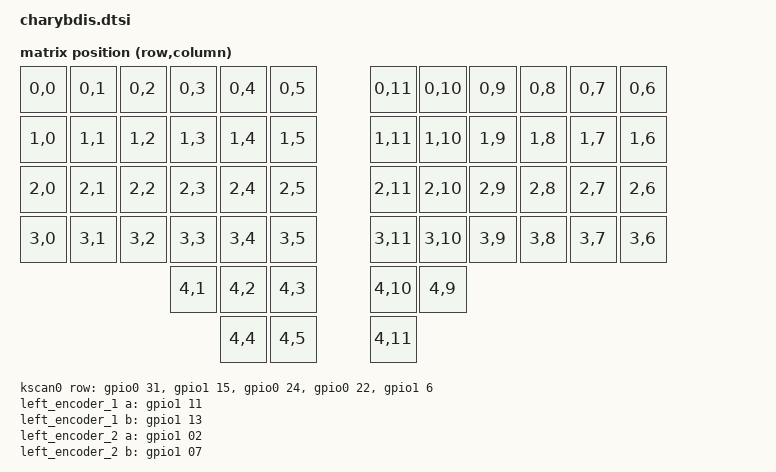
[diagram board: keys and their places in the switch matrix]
#include <dt-bindings/zmk/matrix_transform.h>
#include <dt-bindings/led/led.h>

#include <physical_layouts.dtsi>

/ {
    physical_layout_0: physical_layout_0 {
        compatible = "zmk,physical-layout";
        display-name = "default_transform";

        kscan = <&kscan0>;
        transform = <&matrix_transform0>;

        keys  //                     w   h    x    y     rot    rx    ry
            = <&key_physical_attrs 100 100    0    0       0     0     0>
            , <&key_physical_attrs 100 100  100    0       0     0     0>
            , <&key_physical_attrs 100 100  200    0       0     0     0>
            , <&key_physical_attrs 100 100  300    0       0     0     0>
            , <&key_physical_attrs 100 100  400    0       0     0     0>
            , <&key_physical_attrs 100 100  500    0       0     0     0>
            , <&key_physical_attrs 100 100  700    0       0     0     0>
            , <&key_physical_attrs 100 100  800    0       0     0     0>
            , <&key_physical_attrs 100 100  900    0       0     0     0>
            , <&key_physical_attrs 100 100 1000    0       0     0     0>
            , <&key_physical_attrs 100 100 1100    0       0     0     0>
            , <&key_physical_attrs 100 100 1200    0       0     0     0>
            , <&key_physical_attrs 100 100    0  100       0     0     0>
            , <&key_physical_attrs 100 100  100  100       0     0     0>
            , <&key_physical_attrs 100 100  200  100       0     0     0>
            , <&key_physical_attrs 100 100  300  100       0     0     0>
            , <&key_physical_attrs 100 100  400  100       0     0     0>
            , <&key_physical_attrs 100 100  500  100       0     0     0>
            , <&key_physical_attrs 100 100  700  100       0     0     0>
            , <&key_physical_attrs 100 100  800  100       0     0     0>
            , <&key_physical_attrs 100 100  900  100       0     0     0>
            , <&key_physical_attrs 100 100 1000  100       0     0     0>
            , <&key_physical_attrs 100 100 1100  100       0     0     0>
            , <&key_physical_attrs 100 100 1200  100       0     0     0>
            , <&key_physical_attrs 100 100    0  200       0     0     0>
            , <&key_physical_attrs 100 100  100  200       0     0     0>
            , <&key_physical_attrs 100 100  200  200       0     0     0>
            , <&key_physical_attrs 100 100  300  200       0     0     0>
            , <&key_physical_attrs 100 100  400  200       0     0     0>
            , <&key_physical_attrs 100 100  500  200       0     0     0>
            , <&key_physical_attrs 100 100  700  200       0     0     0>
            , <&key_physical_attrs 100 100  800  200       0     0     0>
            , <&key_physical_attrs 100 100  900  200       0     0     0>
            , <&key_physical_attrs 100 100 1000  200       0     0     0>
            , <&key_physical_attrs 100 100 1100  200       0     0     0>
            , <&key_physical_attrs 100 100 1200  200       0     0     0>
            , <&key_physical_attrs 100 100    0  300       0     0     0>
            , <&key_physical_attrs 100 100  100  300       0     0     0>
            , <&key_physical_attrs 100 100  200  300       0     0     0>
            , <&key_physical_attrs 100 100  300  300       0     0     0>
            , <&key_physical_attrs 100 100  400  300       0     0     0>
            , <&key_physical_attrs 100 100  500  300       0     0     0>
            , <&key_physical_attrs 100 100  700  300       0     0     0>
            , <&key_physical_attrs 100 100  800  300       0     0     0>
            , <&key_physical_attrs 100 100  900  300       0     0     0>
            , <&key_physical_attrs 100 100 1000  300       0     0     0>
            , <&key_physical_attrs 100 100 1100  300       0     0     0>
            , <&key_physical_attrs 100 100 1200  300       0     0     0>
            , <&key_physical_attrs 100 100  300  400       0     0     0>
            , <&key_physical_attrs 100 100  400  400       0     0     0>
            , <&key_physical_attrs 100 100  500  400       0     0     0>
            , <&key_physical_attrs 100 100  700  400       0     0     0>
            , <&key_physical_attrs 100 100  800  400       0     0     0>
            , <&key_physical_attrs 100 100  400  500       0     0     0>
            , <&key_physical_attrs 100 100  500  500       0     0     0>
            , <&key_physical_attrs 100 100  700  500       0     0     0>
            ;
    };
};


/ {
    chosen {
        zmk,kscan = &kscan0;
        zmk,physical-layouts = &physical_layout_0;
	zmk,underglow = &led_strip;
    };

    default_transform: keymap_transform_0 {
		compatible = "zmk,matrix-transform";
        columns = <12>;
        rows = <5>;

        map = <
			RC(0,0) RC(0,1) RC(0,2) RC(0,3) RC(0,4) RC(0,5)                   RC(0,11) RC(0,10) RC(0,9) RC(0,8) RC(0,7) RC(0,6)
			RC(1,0) RC(1,1) RC(1,2) RC(1,3) RC(1,4) RC(1,5)                   RC(1,11) RC(1,10) RC(1,9) RC(1,8) RC(1,7) RC(1,6)
			RC(2,0) RC(2,1) RC(2,2) RC(2,3) RC(2,4) RC(2,5)                   RC(2,11) RC(2,10) RC(2,9) RC(2,8) RC(2,7) RC(2,6)
			RC(3,0) RC(3,1) RC(3,2) RC(3,3) RC(3,4) RC(3,5)                   RC(3,11) RC(3,10) RC(3,9) RC(3,8) RC(3,7) RC(3,6)
					                RC(4,1) RC(4,2) RC(4,3)                   RC(4,10)  RC(4,9)
									        RC(4,4) RC(4,5)                   RC(4,11) 
        >;
    };
	
    kscan0: kscan {
        compatible = "zmk,kscan-gpio-matrix";
        label = "KSCAN";

        diode-direction = "row2col";
		row-gpios
            = <&gpio0 31 GPIO_ACTIVE_HIGH>
            , <&gpio1 15 GPIO_ACTIVE_HIGH>
            , <&gpio0 24 GPIO_ACTIVE_HIGH>
	        , <&gpio0 22 GPIO_ACTIVE_HIGH>
	        , <&gpio1 6 GPIO_ACTIVE_HIGH>
            ;
    };

 left_encoder_1: encoder_left_1 {
        compatible = "alps,ec11";
        a-gpios = <&gpio1 11 (GPIO_ACTIVE_HIGH | GPIO_PULL_UP)>;
        b-gpios = <&gpio1 13 (GPIO_ACTIVE_HIGH | GPIO_PULL_UP)>;
        steps = <12>;
        status = "disabled";
    };

    left_encoder_2: encoder_left_2 {
        compatible = "alps,ec11";
      a-gpios = <&gpio1 02 (GPIO_ACTIVE_HIGH | GPIO_PULL_UP)>;
        b-gpios = <&gpio1 07 (GPIO_ACTIVE_HIGH | GPIO_PULL_UP)>;
        steps = <12>;
        status = "disabled";
    };

    sensors: sensors {
        compatible = "zmk,keymap-sensors";
        sensors = <&left_encoder_1 &left_encoder_2>;
		triggers-per-rotation = <6>;
    };
};
&physical_layout_0{

	transform = <&default_transform>;
	kscan = <&kscan0>;

};

zephyr_udc0: &usbd { 
    compatible = "nordic,nrf-usbd"; 
    status = "okay"; 

};

//
